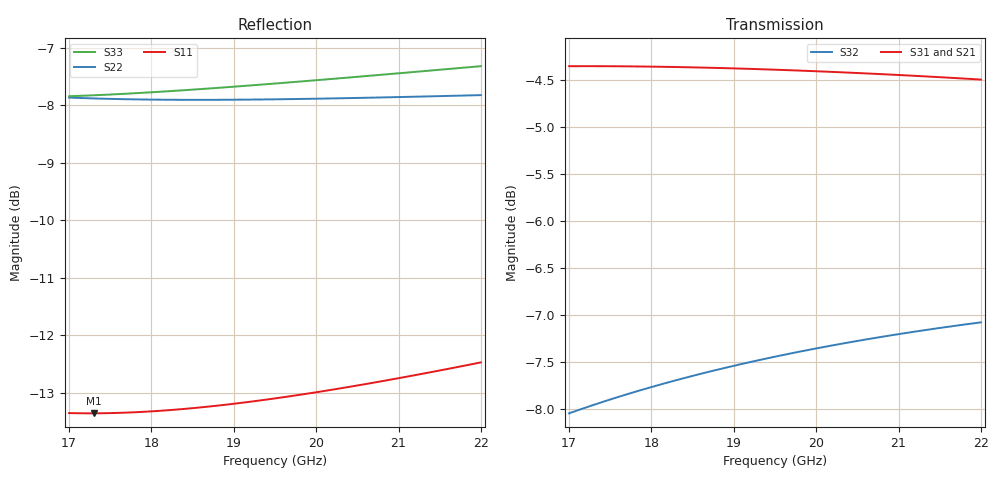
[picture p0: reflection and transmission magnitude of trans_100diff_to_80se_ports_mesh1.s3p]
#  GHZ S DB R 50.0
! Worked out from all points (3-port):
!   51 points, 17 GHz to 22 GHz, reference 50 ohm
!   strongest paths, dB at 17 GHz, 18.2 GHz, 19.5 GHz, 20.8 GHz, 22 GHz:
!     S31: -4.4, -4.4, -4.4, -4.4, -4.5
!     S21: -4.5, -4.4, -4.4, -4.4, -4.4
!     S32: -8.0, -7.7, -7.4, -7.2, -7.1
!   lowest |S11| = -13.4 dB at 17.3 GHz (marker M1), VSWR 1.55, Z = 76.1 + j7.53 ohm
!   |S11| at or under -10 dB: start of sweep to end of sweep
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17  -13.35 16.5  -4.49 -171.8  -4.35 7.6
    -4.49 -171.8  -7.86 96.3  -8.04 73.7
    -4.35 7.6  -8.04 73.7  -7.84 93.1
17.3  -13.35 12.7  -4.48 -174.0  -4.35 5.5
      -4.48 -174.0  -7.88 93.4  -7.95 71.5
      -4.35 5.5  -7.95 71.5  -7.82 90.2
17.8  -13.33 6.6  -4.46 -177.5  -4.35 2.1
      -4.46 -177.5  -7.89 88.7  -7.81 68.2
      -4.35 2.1  -7.81 68.2  -7.79 85.7
18.4  -13.28 -0.3  -4.43 178.3  -4.36 -1.8
      -4.43 178.3  -7.90 83.5  -7.67 64.3
      -4.36 -1.8  -7.67 64.3  -7.73 80.7
18.9  -13.20 -5.7  -4.42 175.0  -4.37 -5.0
      -4.42 175.0  -7.90 79.5  -7.56 61.2
      -4.37 -5.0  -7.56 61.2  -7.68 76.8
19.5  -13.09 -11.8  -4.41 171.2  -4.39 -8.7
      -4.41 171.2  -7.89 75.0  -7.44 57.7
      -4.39 -8.7  -7.44 57.7  -7.62 72.5
20.1  -12.96 -17.5  -4.40 167.4  -4.41 -12.2
      -4.40 167.4  -7.88 70.8  -7.33 54.3
      -4.41 -12.2  -7.33 54.3  -7.55 68.4
20.7  -12.82 -22.9  -4.40 163.7  -4.43 -15.7
      -4.40 163.7  -7.86 66.9  -7.24 51.0
      -4.43 -15.7  -7.24 51.0  -7.48 64.7
21.3  -12.66 -27.9  -4.40 160.2  -4.46 -19.1
      -4.40 160.2  -7.84 63.3  -7.16 47.9
      -4.46 -19.1  -7.16 47.9  -7.40 61.2
22  -12.47 -33.5  -4.40 156.1  -4.49 -22.9
    -4.40 156.1  -7.82 59.3  -7.07 44.4
    -4.49 -22.9  -7.07 44.4  -7.32 57.4
